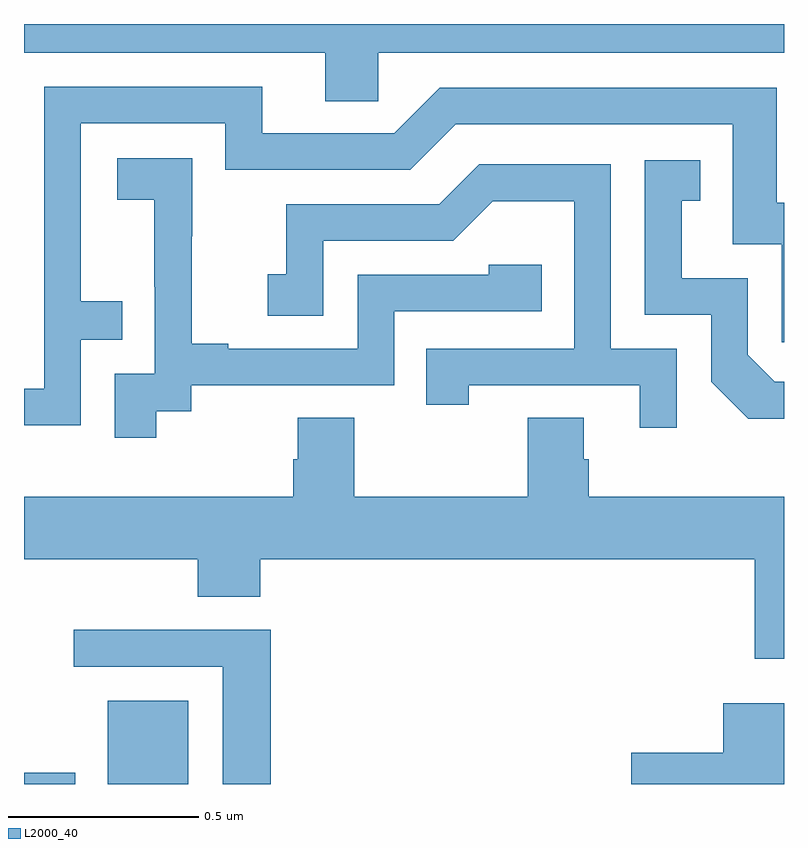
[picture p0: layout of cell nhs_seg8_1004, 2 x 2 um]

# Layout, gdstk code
import gdstk
lib = gdstk.Library(unit=1e-6, precision=1e-09)
def R(c, l, rs):  # rectangles x0, y0, x1, y1
    for r in rs: c.add(gdstk.rectangle(r[:2], r[2:], *l))
def P(c, l, *ps):  # polygons
    for p in ps: c.add(gdstk.Polygon(p, *l))
L2000_40 = (2000, 40)

nhs_seg8_1004 = lib.new_cell('nhs_seg8_1004')
R(nhs_seg8_1004, L2000_40, [(124,1123.9,124.135,1123.93), (124.22,1123.9,124.432,1124.119)])
P(nhs_seg8_1004, L2000_40, [(124.932,1125.824),(126,1125.824),(126,1125.9),(124,1125.9),(124,1125.824),(124.793,1125.824),(124.793,1125.697),(124.932,1125.697)],
  [(124.149,1125.069),(124.259,1125.069),(124.259,1125.17),(124.149,1125.17),(124.149,1125.639),(124.53,1125.639),(124.53,1125.516),(125.016,1125.516),(125.136,1125.636),(125.865,1125.636),(125.865,1125.321),(125.994,1125.321),(125.994,1125.063),(126,1125.063),(126,1125.43),(125.981,1125.43),(125.981,1125.732),(125.094,1125.732),(124.974,1125.612),(124.627,1125.612),(124.627,1125.735),(124.053,1125.735),(124.053,1124.94),(124,1124.94),(124,1124.844),(124.149,1124.844)],
  [(124.348,1124.881),(124.44,1124.881),(124.44,1124.949),(124.974,1124.949),(124.974,1125.144),(125.363,1125.144),(125.363,1125.267),(125.223,1125.267),(125.223,1125.24),(124.878,1125.24),(124.878,1125.045),(124.537,1125.045),(124.537,1125.058),(124.442,1125.058),(124.442,1125.341),(124.443,1125.341),(124.443,1125.547),(124.245,1125.547),(124.245,1125.437),(124.343,1125.437),(124.343,1125.209),(124.344,1125.209),(124.344,1124.979),(124.239,1124.979),(124.239,1124.811),(124.348,1124.811)],
  [(126,1124.958),(125.976,1124.958),(125.904,1125.03),(125.904,1125.231),(125.731,1125.231),(125.731,1125.435),(125.78,1125.435),(125.78,1125.541),(125.634,1125.541),(125.634,1125.135),(125.808,1125.135),(125.808,1124.958),(125.906,1124.861),(126,1124.861)],
  [(125.718,1125.045),(125.544,1125.045),(125.544,1125.531),(125.198,1125.531),(125.093,1125.426),(124.69,1125.426),(124.69,1125.241),(124.641,1125.241),(124.641,1125.132),(124.788,1125.132),(124.788,1125.33),(125.13,1125.33),(125.234,1125.434),(125.448,1125.434),(125.448,1125.045),(125.059,1125.045),(125.059,1124.898),(125.17,1124.898),(125.17,1124.949),(125.621,1124.949),(125.621,1124.838),(125.718,1124.838)],
  [(126,1124.656),(125.486,1124.656),(125.486,1124.754),(125.473,1124.754),(125.473,1124.864),(125.326,1124.864),(125.326,1124.656),(124.869,1124.656),(124.869,1124.864),(124.721,1124.864),(124.721,1124.754),(124.709,1124.754),(124.709,1124.656),(124,1124.656),(124,1124.492),(124.457,1124.492),(124.457,1124.393),(124.622,1124.393),(124.622,1124.492),(125.923,1124.492),(125.923,1124.229),(126,1124.229)],
  [(124.649,1124.306),(124.131,1124.306),(124.131,1124.208),(124.523,1124.208),(124.523,1123.9),(124.649,1123.9)],
  [(126,1124.113),(125.84,1124.113),(125.84,1123.982),(125.598,1123.982),(125.598,1123.9),(126,1123.9)])

lib.write_gds('nhs_seg8_1004.gds')
